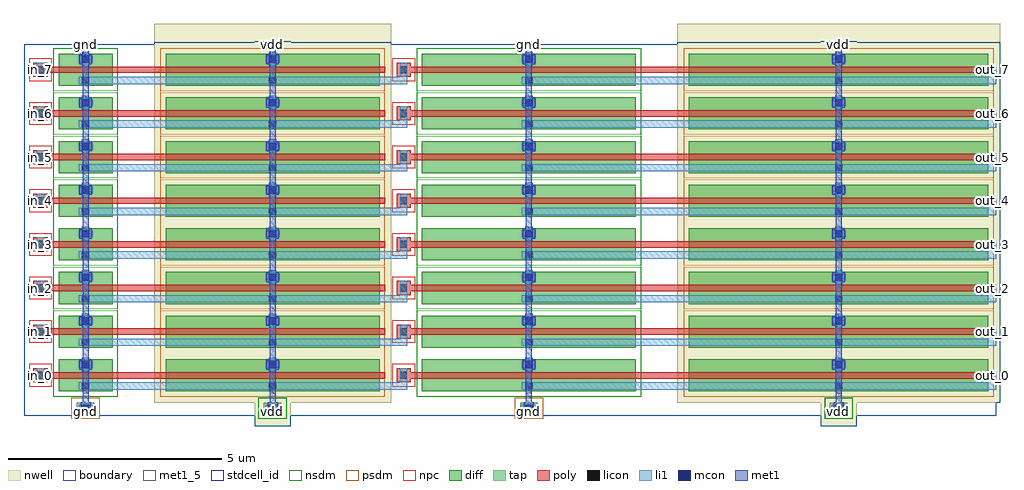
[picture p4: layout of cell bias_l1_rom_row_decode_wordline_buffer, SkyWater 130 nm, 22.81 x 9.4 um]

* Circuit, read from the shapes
.subckt bias_l1_rom_row_decode_wordline_buffer gnd in_0 in_1 in_2 in_3 in_4 in_5 in_6 in_7 out_0 out_1 out_2 out_3 out_4 out_5 out_6 out_7 vdd
XM1 gnd in_0 bias_l1_pbuf_dec_0/bias_l1_pinv_dec_1_1/A gnd sky130_fd_pr__nfet_01v8 w=1.26 l=0.15
XM2 gnd in_1 bias_l1_pbuf_dec_1/bias_l1_pinv_dec_1_1/A gnd sky130_fd_pr__nfet_01v8 w=1.26 l=0.15
XM3 gnd in_2 bias_l1_pbuf_dec_2/bias_l1_pinv_dec_1_1/A gnd sky130_fd_pr__nfet_01v8 w=1.26 l=0.15
XM4 gnd in_3 bias_l1_pbuf_dec_3/bias_l1_pinv_dec_1_1/A gnd sky130_fd_pr__nfet_01v8 w=1.26 l=0.15
XM5 gnd in_4 bias_l1_pbuf_dec_4/bias_l1_pinv_dec_1_1/A gnd sky130_fd_pr__nfet_01v8 w=1.26 l=0.15
XM6 gnd in_5 bias_l1_pbuf_dec_5/bias_l1_pinv_dec_1_1/A gnd sky130_fd_pr__nfet_01v8 w=1.26 l=0.15
XM7 gnd in_6 bias_l1_pbuf_dec_6/bias_l1_pinv_dec_1_1/A gnd sky130_fd_pr__nfet_01v8 w=1.26 l=0.15
XM8 gnd in_7 bias_l1_pbuf_dec_7/bias_l1_pinv_dec_1_1/A gnd sky130_fd_pr__nfet_01v8 w=1.26 l=0.15
XM9 gnd bias_l1_pbuf_dec_0/bias_l1_pinv_dec_1_1/A out_0 gnd sky130_fd_pr__nfet_01v8 w=5 l=0.15
XM10 gnd bias_l1_pbuf_dec_1/bias_l1_pinv_dec_1_1/A out_1 gnd sky130_fd_pr__nfet_01v8 w=5 l=0.15
XM11 gnd bias_l1_pbuf_dec_2/bias_l1_pinv_dec_1_1/A out_2 gnd sky130_fd_pr__nfet_01v8 w=5 l=0.15
XM12 gnd bias_l1_pbuf_dec_3/bias_l1_pinv_dec_1_1/A out_3 gnd sky130_fd_pr__nfet_01v8 w=5 l=0.15
XM13 gnd bias_l1_pbuf_dec_4/bias_l1_pinv_dec_1_1/A out_4 gnd sky130_fd_pr__nfet_01v8 w=5 l=0.15
XM14 gnd bias_l1_pbuf_dec_5/bias_l1_pinv_dec_1_1/A out_5 gnd sky130_fd_pr__nfet_01v8 w=5 l=0.15
XM15 gnd bias_l1_pbuf_dec_6/bias_l1_pinv_dec_1_1/A out_6 gnd sky130_fd_pr__nfet_01v8 w=5 l=0.15
XM16 gnd bias_l1_pbuf_dec_7/bias_l1_pinv_dec_1_1/A out_7 gnd sky130_fd_pr__nfet_01v8 w=5 l=0.15
XM17 vdd in_0 bias_l1_pbuf_dec_0/bias_l1_pinv_dec_1_1/A vdd sky130_fd_pr__pfet_01v8 w=5 l=0.15
XM18 vdd in_1 bias_l1_pbuf_dec_1/bias_l1_pinv_dec_1_1/A vdd sky130_fd_pr__pfet_01v8 w=5 l=0.15
XM19 vdd in_2 bias_l1_pbuf_dec_2/bias_l1_pinv_dec_1_1/A vdd sky130_fd_pr__pfet_01v8 w=5 l=0.15
XM20 vdd in_3 bias_l1_pbuf_dec_3/bias_l1_pinv_dec_1_1/A vdd sky130_fd_pr__pfet_01v8 w=5 l=0.15
XM21 vdd in_4 bias_l1_pbuf_dec_4/bias_l1_pinv_dec_1_1/A vdd sky130_fd_pr__pfet_01v8 w=5 l=0.15
XM22 vdd in_5 bias_l1_pbuf_dec_5/bias_l1_pinv_dec_1_1/A vdd sky130_fd_pr__pfet_01v8 w=5 l=0.15
XM23 vdd in_6 bias_l1_pbuf_dec_6/bias_l1_pinv_dec_1_1/A vdd sky130_fd_pr__pfet_01v8 w=5 l=0.15
XM24 vdd in_7 bias_l1_pbuf_dec_7/bias_l1_pinv_dec_1_1/A vdd sky130_fd_pr__pfet_01v8 w=5 l=0.15
XM25 vdd bias_l1_pbuf_dec_0/bias_l1_pinv_dec_1_1/A out_0 vdd sky130_fd_pr__pfet_01v8 w=7 l=0.15
XM26 vdd bias_l1_pbuf_dec_1/bias_l1_pinv_dec_1_1/A out_1 vdd sky130_fd_pr__pfet_01v8 w=7 l=0.15
XM27 vdd bias_l1_pbuf_dec_2/bias_l1_pinv_dec_1_1/A out_2 vdd sky130_fd_pr__pfet_01v8 w=7 l=0.15
XM28 vdd bias_l1_pbuf_dec_3/bias_l1_pinv_dec_1_1/A out_3 vdd sky130_fd_pr__pfet_01v8 w=7 l=0.15
XM29 vdd bias_l1_pbuf_dec_4/bias_l1_pinv_dec_1_1/A out_4 vdd sky130_fd_pr__pfet_01v8 w=7 l=0.15
XM30 vdd bias_l1_pbuf_dec_5/bias_l1_pinv_dec_1_1/A out_5 vdd sky130_fd_pr__pfet_01v8 w=7 l=0.15
XM31 vdd bias_l1_pbuf_dec_6/bias_l1_pinv_dec_1_1/A out_6 vdd sky130_fd_pr__pfet_01v8 w=7 l=0.15
XM32 vdd bias_l1_pbuf_dec_7/bias_l1_pinv_dec_1_1/A out_7 vdd sky130_fd_pr__pfet_01v8 w=7 l=0.15
.ends

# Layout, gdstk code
from math import pi, radians
import gdstk
lib = gdstk.Library(unit=1e-6, precision=1e-09)
def R(c, l, rs):  # rectangles x0, y0, x1, y1
    for r in rs: c.add(gdstk.rectangle(r[:2], r[2:], *l))
def A(c, l, x, y, w, h, nx, ny, dx, dy):  # array of equal rectangles
    R(c, l, [(x+i*dx, y+j*dy, x+i*dx+w, y+j*dy+h) for i in range(nx) for j in range(ny)])
nwell = (64, 20)
diff = (65, 20)
tap = (65, 44)
poly = (66, 20)
licon = (66, 44)
li1 = (67, 20)
mcon = (67, 44)
met1_5 = (68, 5)
met1 = (68, 20)
stdcell_id = (81, 4)
nsdm = (93, 44)
psdm = (94, 20)
npc = (95, 20)
boundary = (235, 4)

bias_l1_contact_10 = lib.new_cell('bias_l1_contact_10')
R(bias_l1_contact_10, nwell, [(-0.295,-0.255,0.545,0.585)])
R(bias_l1_contact_10, diff, [(0,0.02,0.25,0.31)])
R(bias_l1_contact_10, licon, [(0.04,0.08,0.21,0.25)])
R(bias_l1_contact_10, li1, [(0.04,0,0.21,0.33)])
R(bias_l1_contact_10, stdcell_id, [(-0.295,-0.255,0.545,0.585)])
R(bias_l1_contact_10, psdm, [(-0.125,-0.105,0.375,0.435)])
R(bias_l1_contact_10, boundary, [(-0.295,-0.255,0.545,0.585)])

bias_l1_pmos_m1_w5_000_s = lib.new_cell('bias_l1_pmos_m1_w5_000_sli_dli_da_p')
R(bias_l1_pmos_m1_w5_000_s, nwell, [(-0.27,-0.27,1.02,5.27)])
R(bias_l1_pmos_m1_w5_000_s, diff, [(0,0,0.75,5)])
R(bias_l1_pmos_m1_w5_000_s, poly, [(0.3,-0.13,0.45,5.13), (0.3,-0.13,0.45,5.13)])
R(bias_l1_pmos_m1_w5_000_s, li1, [(0.04,2.335,0.21,2.665), (0.54,2.335,0.71,2.665)])
R(bias_l1_pmos_m1_w5_000_s, stdcell_id, [(-0.27,-0.27,1.02,5.27)])
R(bias_l1_pmos_m1_w5_000_s, psdm, [(-0.125,-0.125,0.875,5.125)])
R(bias_l1_pmos_m1_w5_000_s, boundary, [(-0.27,-0.27,1.02,5.27)])
bias_l1_pmos_m1_w5_000_s.add(gdstk.Reference(bias_l1_contact_10, (0,2.335)))
bias_l1_pmos_m1_w5_000_s.add(gdstk.Reference(bias_l1_contact_10, (0.5,2.335)))
bias_l1_pmos_m1_w5_000_s.add(gdstk.Label('G', (0.375,2.5), layer=66, texttype=5))
bias_l1_pmos_m1_w5_000_s.add(gdstk.Label('S', (0.125,2.5), layer=67, texttype=5))
bias_l1_pmos_m1_w5_000_s.add(gdstk.Label('D', (0.625,2.5), layer=67, texttype=5))

bias_l1_contact_8 = lib.new_cell('bias_l1_contact_8')
R(bias_l1_contact_8, diff, [(0,0.02,0.25,0.31)])
R(bias_l1_contact_8, licon, [(0.04,0.08,0.21,0.25)])
R(bias_l1_contact_8, li1, [(0.04,0,0.21,0.33)])
R(bias_l1_contact_8, stdcell_id, [(-0.125,-0.105,0.375,0.435)])
R(bias_l1_contact_8, nsdm, [(-0.125,-0.105,0.375,0.435)])
R(bias_l1_contact_8, boundary, [(-0.125,-0.105,0.375,0.435)])

bias_l1_nmos_m1_w1_260_s = lib.new_cell('bias_l1_nmos_m1_w1_260_sli_dli_da_p')
R(bias_l1_nmos_m1_w1_260_s, diff, [(0,0,0.75,1.26)])
R(bias_l1_nmos_m1_w1_260_s, poly, [(0.3,-0.13,0.45,1.39), (0.3,-0.13,0.45,1.39)])
R(bias_l1_nmos_m1_w1_260_s, li1, [(0.04,0.465,0.21,0.795), (0.54,0.465,0.71,0.795)])
R(bias_l1_nmos_m1_w1_260_s, stdcell_id, [(-0.125,-0.13,0.875,1.39)])
R(bias_l1_nmos_m1_w1_260_s, nsdm, [(-0.125,-0.125,0.875,1.385)])
R(bias_l1_nmos_m1_w1_260_s, boundary, [(-0.125,-0.13,0.875,1.39)])
bias_l1_nmos_m1_w1_260_s.add(gdstk.Reference(bias_l1_contact_8, (0,0.465)))
bias_l1_nmos_m1_w1_260_s.add(gdstk.Reference(bias_l1_contact_8, (0.5,0.465)))
bias_l1_nmos_m1_w1_260_s.add(gdstk.Label('G', (0.375,0.63), layer=66, texttype=5))
bias_l1_nmos_m1_w1_260_s.add(gdstk.Label('S', (0.125,0.63), layer=67, texttype=5))
bias_l1_nmos_m1_w1_260_s.add(gdstk.Label('D', (0.625,0.63), layer=67, texttype=5))

bias_l1_contact_11 = lib.new_cell('bias_l1_contact_11')
R(bias_l1_contact_11, poly, [(0,0,0.33,0.33)])
R(bias_l1_contact_11, licon, [(0.08,0.08,0.25,0.25)])
R(bias_l1_contact_11, li1, [(0.08,0,0.25,0.33)])
R(bias_l1_contact_11, stdcell_id, [(-0.1,-0.1,0.43,0.43)])
R(bias_l1_contact_11, npc, [(-0.1,-0.1,0.43,0.43)])
R(bias_l1_contact_11, boundary, [(-0.1,-0.1,0.43,0.43)])

bias_l1_contact_12 = lib.new_cell('bias_l1_contact_12')
R(bias_l1_contact_12, li1, [(0.06,0,0.23,0.33)])
R(bias_l1_contact_12, mcon, [(0.06,0.08,0.23,0.25)])
R(bias_l1_contact_12, met1, [(0,0.05,0.29,0.28)])
R(bias_l1_contact_12, stdcell_id, [(0,0,0.29,0.33)])
R(bias_l1_contact_12, boundary, [(0,0,0.29,0.33)])

bias_l1_pinv_dec_0 = lib.new_cell('bias_l1_pinv_dec_0')
R(bias_l1_pinv_dec_0, nwell, [(3.04,0,8.58,1.495)])
R(bias_l1_pinv_dec_0, poly, [(0.385,0.345,0.68,0.495), (2.2,0.345,3.18,0.495)])
R(bias_l1_pinv_dec_0, li1, [(1.275,0.085,8.49,0.255), (0.3,0.255,0.47,0.585)])
R(bias_l1_pinv_dec_0, met1_5, [(1.37,0,1.51,1.02), (5.74,0,5.88,1.02)])
R(bias_l1_pinv_dec_0, met1, [(1.37,0,1.51,1.02), (5.74,0,5.88,1.02)])
R(bias_l1_pinv_dec_0, stdcell_id, [(0,0,8.49,1.02), (0,0,8.49,1.02)])
R(bias_l1_pinv_dec_0, nsdm, [(0.685,0,2.195,0.795)])
R(bias_l1_pinv_dec_0, psdm, [(3.185,0,8.435,0.795)])
R(bias_l1_pinv_dec_0, boundary, [(0,0,8.49,1.02), (0,0,8.49,1.02)])
bias_l1_pinv_dec_0.add(gdstk.Reference(bias_l1_pmos_m1_w5_000_s, (3.31,0.795), rotation=3*pi/2))
bias_l1_pinv_dec_0.add(gdstk.Reference(bias_l1_nmos_m1_w1_260_s, (0.81,0.795), rotation=3*pi/2))
bias_l1_pinv_dec_0.add(gdstk.Reference(bias_l1_contact_11, (0.22,0.255)))
bias_l1_pinv_dec_0.add(gdstk.Reference(bias_l1_contact_12, (1.295,0.505)))
bias_l1_pinv_dec_0.add(gdstk.Reference(bias_l1_contact_12, (5.665,0.505)))
bias_l1_pinv_dec_0.add(gdstk.Label('A', (0.385,0.42), layer=67, texttype=5))
bias_l1_pinv_dec_0.add(gdstk.Label('Z', (4.882,0.17), layer=67, texttype=5))
bias_l1_pinv_dec_0.add(gdstk.Label('gnd', (1.44,0.51), layer=68, texttype=5))
bias_l1_pinv_dec_0.add(gdstk.Label('vdd', (5.81,0.51), layer=68, texttype=5))

bias_l1_pmos_m1_w7_000_s = lib.new_cell('bias_l1_pmos_m1_w7_000_sli_dli_da_p')
R(bias_l1_pmos_m1_w7_000_s, nwell, [(-0.27,-0.27,1.02,7.27)])
R(bias_l1_pmos_m1_w7_000_s, diff, [(0,0,0.75,7)])
R(bias_l1_pmos_m1_w7_000_s, poly, [(0.3,-0.13,0.45,7.13), (0.3,-0.13,0.45,7.13)])
R(bias_l1_pmos_m1_w7_000_s, li1, [(0.04,3.335,0.21,3.665), (0.54,3.335,0.71,3.665)])
R(bias_l1_pmos_m1_w7_000_s, stdcell_id, [(-0.27,-0.27,1.02,7.27)])
R(bias_l1_pmos_m1_w7_000_s, psdm, [(-0.125,-0.125,0.875,7.125)])
R(bias_l1_pmos_m1_w7_000_s, boundary, [(-0.27,-0.27,1.02,7.27)])
bias_l1_pmos_m1_w7_000_s.add(gdstk.Reference(bias_l1_contact_10, (0,3.335)))
bias_l1_pmos_m1_w7_000_s.add(gdstk.Reference(bias_l1_contact_10, (0.5,3.335)))
bias_l1_pmos_m1_w7_000_s.add(gdstk.Label('G', (0.375,3.5), layer=66, texttype=5))
bias_l1_pmos_m1_w7_000_s.add(gdstk.Label('S', (0.125,3.5), layer=67, texttype=5))
bias_l1_pmos_m1_w7_000_s.add(gdstk.Label('D', (0.625,3.5), layer=67, texttype=5))

bias_l1_nmos_m1_w5_000_s = lib.new_cell('bias_l1_nmos_m1_w5_000_sli_dli_da_p')
R(bias_l1_nmos_m1_w5_000_s, diff, [(0,0,0.75,5)])
R(bias_l1_nmos_m1_w5_000_s, poly, [(0.3,-0.13,0.45,5.13), (0.3,-0.13,0.45,5.13)])
R(bias_l1_nmos_m1_w5_000_s, li1, [(0.04,2.335,0.21,2.665), (0.54,2.335,0.71,2.665)])
R(bias_l1_nmos_m1_w5_000_s, stdcell_id, [(-0.125,-0.13,0.875,5.13)])
R(bias_l1_nmos_m1_w5_000_s, nsdm, [(-0.125,-0.125,0.875,5.125)])
R(bias_l1_nmos_m1_w5_000_s, boundary, [(-0.125,-0.13,0.875,5.13)])
bias_l1_nmos_m1_w5_000_s.add(gdstk.Reference(bias_l1_contact_8, (0,2.335)))
bias_l1_nmos_m1_w5_000_s.add(gdstk.Reference(bias_l1_contact_8, (0.5,2.335)))
bias_l1_nmos_m1_w5_000_s.add(gdstk.Label('G', (0.375,2.5), layer=66, texttype=5))
bias_l1_nmos_m1_w5_000_s.add(gdstk.Label('S', (0.125,2.5), layer=67, texttype=5))
bias_l1_nmos_m1_w5_000_s.add(gdstk.Label('D', (0.625,2.5), layer=67, texttype=5))

bias_l1_pinv_dec_1 = lib.new_cell('bias_l1_pinv_dec_1')
R(bias_l1_pinv_dec_1, nwell, [(6.78,0,14.32,1.495)])
R(bias_l1_pinv_dec_1, poly, [(0.385,0.345,0.68,0.495), (5.94,0.345,6.92,0.495)])
R(bias_l1_pinv_dec_1, li1, [(3.145,0.085,14.23,0.255), (0.3,0.255,0.47,0.585)])
R(bias_l1_pinv_dec_1, met1_5, [(3.24,0,3.38,1.02), (10.48,0,10.62,1.02)])
R(bias_l1_pinv_dec_1, met1, [(3.24,0,3.38,1.02), (10.48,0,10.62,1.02)])
R(bias_l1_pinv_dec_1, stdcell_id, [(0,0,14.23,1.02), (0,0,14.23,1.02)])
R(bias_l1_pinv_dec_1, nsdm, [(0.685,0,5.935,0.795)])
R(bias_l1_pinv_dec_1, psdm, [(6.925,0,14.175,0.795)])
R(bias_l1_pinv_dec_1, boundary, [(0,0,14.23,1.02), (0,0,14.23,1.02)])
bias_l1_pinv_dec_1.add(gdstk.Reference(bias_l1_pmos_m1_w7_000_s, (7.05,0.795), rotation=3*pi/2))
bias_l1_pinv_dec_1.add(gdstk.Reference(bias_l1_nmos_m1_w5_000_s, (0.81,0.795), rotation=3*pi/2))
bias_l1_pinv_dec_1.add(gdstk.Reference(bias_l1_contact_11, (0.22,0.255)))
bias_l1_pinv_dec_1.add(gdstk.Reference(bias_l1_contact_12, (3.165,0.505)))
bias_l1_pinv_dec_1.add(gdstk.Reference(bias_l1_contact_12, (10.405,0.505)))
bias_l1_pinv_dec_1.add(gdstk.Label('A', (0.385,0.42), layer=67, texttype=5))
bias_l1_pinv_dec_1.add(gdstk.Label('Z', (8.688,0.17), layer=67, texttype=5))
bias_l1_pinv_dec_1.add(gdstk.Label('gnd', (3.31,0.51), layer=68, texttype=5))
bias_l1_pinv_dec_1.add(gdstk.Label('vdd', (10.55,0.51), layer=68, texttype=5))

bias_l1_pbuf_dec = lib.new_cell('bias_l1_pbuf_dec')
R(bias_l1_pbuf_dec, li1, [(8.49,0.085,8.875,0.255), (8.79,0.085,8.96,0.255), (11.635,0.085,22.72,0.255), (8.79,0.17,8.96,0.42), (0.3,0.255,0.47,0.585), (8.79,0.335,8.96,0.505), (8.79,0.335,8.875,0.505)])
R(bias_l1_pbuf_dec, met1_5, [(1.37,0,1.51,1.02), (5.74,0,5.88,1.02), (11.73,0,11.87,1.02), (18.97,0,19.11,1.02)])
R(bias_l1_pbuf_dec, met1, [(1.37,0,1.51,1.02), (5.74,0,5.88,1.02), (11.73,0,11.87,1.02), (18.97,0,19.11,1.02)])
R(bias_l1_pbuf_dec, stdcell_id, [(0,0,22.72,1.02), (0,0,22.72,1.02)])
R(bias_l1_pbuf_dec, boundary, [(0,0,22.72,1.02), (0,0,22.72,1.02)])
bias_l1_pbuf_dec.add(gdstk.Reference(bias_l1_pinv_dec_0, (0,0)))
bias_l1_pbuf_dec.add(gdstk.Reference(bias_l1_pinv_dec_1, (8.49,0)))
bias_l1_pbuf_dec.add(gdstk.Label('Z', (17.178,0.17), layer=67, texttype=5))
bias_l1_pbuf_dec.add(gdstk.Label('A', (0.385,0.42), layer=67, texttype=5))
bias_l1_pbuf_dec.add(gdstk.Label('vdd', (19.04,0.51), layer=68, texttype=5))
bias_l1_pbuf_dec.add(gdstk.Label('vdd', (5.81,0.51), layer=68, texttype=5))
bias_l1_pbuf_dec.add(gdstk.Label('gnd', (11.8,0.51), layer=68, texttype=5))
bias_l1_pbuf_dec.add(gdstk.Label('gnd', (1.44,0.51), layer=68, texttype=5))

bias_l1_contact_15 = lib.new_cell('bias_l1_contact_15')
R(bias_l1_contact_15, nwell, [(-0.215,-0.295,0.625,0.545)])
R(bias_l1_contact_15, tap, [(0,0,0.41,0.25)])
R(bias_l1_contact_15, licon, [(0.12,0.04,0.29,0.21)])
R(bias_l1_contact_15, li1, [(0.04,0.04,0.37,0.21)])
R(bias_l1_contact_15, stdcell_id, [(-0.215,-0.295,0.625,0.545)])
R(bias_l1_contact_15, nsdm, [(-0.125,-0.125,0.535,0.375)])
R(bias_l1_contact_15, boundary, [(-0.215,-0.295,0.625,0.545)])

bias_l1_contact_17 = lib.new_cell('bias_l1_contact_17')
R(bias_l1_contact_17, li1, [(0,0.06,0.33,0.23)])
R(bias_l1_contact_17, mcon, [(0.08,0.06,0.25,0.23)])
R(bias_l1_contact_17, met1, [(0.05,0,0.28,0.29)])
R(bias_l1_contact_17, stdcell_id, [(0,0,0.33,0.29)])
R(bias_l1_contact_17, boundary, [(0,0,0.33,0.29)])

bias_l1_contact_16 = lib.new_cell('bias_l1_contact_16')
R(bias_l1_contact_16, tap, [(0,0,0.41,0.25)])
R(bias_l1_contact_16, licon, [(0.12,0.04,0.29,0.21)])
R(bias_l1_contact_16, li1, [(0.04,0.04,0.37,0.21)])
R(bias_l1_contact_16, stdcell_id, [(-0.125,-0.125,0.535,0.375)])
R(bias_l1_contact_16, psdm, [(-0.125,-0.125,0.535,0.375)])
R(bias_l1_contact_16, boundary, [(-0.125,-0.125,0.535,0.375)])

bias_l1_rom_row_decode_w = lib.new_cell('bias_l1_rom_row_decode_wordline_buffer')
A(bias_l1_rom_row_decode_w, li1, 22.55, 0.69, 0.17, 0.335, 1, 8, 0, 1.02)
A(bias_l1_rom_row_decode_w, li1, 0.3, 0.775, 0.17, 0.33, 1, 8, 0, 1.02)
A(bias_l1_rom_row_decode_w, li1, 22.55, 0.855, 0.17, 0.17, 1, 8, 0, 1.02)
R(bias_l1_rom_row_decode_w, met1_5, [(1.37,0.03,1.51,0.17), (5.74,0.03,5.88,0.17), (11.73,0.03,11.87,0.17), (18.97,0.03,19.11,0.17), (1.37,8.61,1.51,8.75), (5.74,8.61,5.88,8.75), (11.73,8.61,11.87,8.75), (18.97,8.61,19.11,8.75)])
A(bias_l1_rom_row_decode_w, met1, 1.37, 0.96, 0.14, 0.14, 1, 8, 0, 1.02)
A(bias_l1_rom_row_decode_w, met1, 5.74, 0.96, 0.14, 0.14, 1, 8, 0, 1.02)
A(bias_l1_rom_row_decode_w, met1, 11.73, 0.96, 0.14, 0.14, 1, 8, 0, 1.02)
A(bias_l1_rom_row_decode_w, met1, 18.97, 0.96, 0.14, 0.14, 1, 8, 0, 1.02)
R(bias_l1_rom_row_decode_w, met1, [(1.37,0.03,1.51,0.17), (1.37,0.03,1.51,8.75), (5.74,0.03,5.88,0.17), (5.74,0.03,5.88,8.75), (11.73,0.03,11.87,0.17), (11.73,0.03,11.87,8.75), (18.97,0.03,19.11,0.17), (18.97,0.03,19.11,8.75), (1.37,0.1,1.51,0.24), (5.74,0.1,5.88,0.24), (11.73,0.1,11.87,0.24), (18.97,0.1,19.11,0.24), (1.37,8.61,1.51,8.75), (5.74,8.61,5.88,8.75), (11.73,8.61,11.87,8.75), (18.97,8.61,19.11,8.75)])
R(bias_l1_rom_row_decode_w, stdcell_id, [(0,0,22.72,8.16)])
R(bias_l1_rom_row_decode_w, boundary, [(0,0,22.72,8.16)])
bias_l1_rom_row_decode_w.add(gdstk.Reference(bias_l1_pbuf_dec, (0,0.52)))
bias_l1_rom_row_decode_w.add(gdstk.Reference(bias_l1_pbuf_dec, (0,1.54)))
bias_l1_rom_row_decode_w.add(gdstk.Reference(bias_l1_pbuf_dec, (0,2.56)))
bias_l1_rom_row_decode_w.add(gdstk.Reference(bias_l1_pbuf_dec, (0,3.58)))
bias_l1_rom_row_decode_w.add(gdstk.Reference(bias_l1_pbuf_dec, (0,4.6)))
bias_l1_rom_row_decode_w.add(gdstk.Reference(bias_l1_pbuf_dec, (0,5.62)))
bias_l1_rom_row_decode_w.add(gdstk.Reference(bias_l1_pbuf_dec, (0,6.64)))
bias_l1_rom_row_decode_w.add(gdstk.Reference(bias_l1_pbuf_dec, (0,7.66)))
bias_l1_rom_row_decode_w.add(gdstk.Reference(bias_l1_contact_15, (18.835,0.045)))
bias_l1_rom_row_decode_w.add(gdstk.Reference(bias_l1_contact_17, (18.875,0.025)))
bias_l1_rom_row_decode_w.add(gdstk.Reference(bias_l1_contact_16, (11.595,0.045)))
bias_l1_rom_row_decode_w.add(gdstk.Reference(bias_l1_contact_17, (11.635,0.025)))
bias_l1_rom_row_decode_w.add(gdstk.Reference(bias_l1_contact_15, (5.605,0.045)))
bias_l1_rom_row_decode_w.add(gdstk.Reference(bias_l1_contact_17, (5.645,0.025)))
bias_l1_rom_row_decode_w.add(gdstk.Reference(bias_l1_contact_16, (1.235,0.045)))
bias_l1_rom_row_decode_w.add(gdstk.Reference(bias_l1_contact_17, (1.275,0.025)))
bias_l1_rom_row_decode_w.add(gdstk.Label('in_0', (0.385,0.94), layer=67, texttype=5))
bias_l1_rom_row_decode_w.add(gdstk.Label('out_0', (22.635,0.94), layer=67, texttype=5))
bias_l1_rom_row_decode_w.add(gdstk.Label('in_1', (0.385,1.96), layer=67, texttype=5))
bias_l1_rom_row_decode_w.add(gdstk.Label('out_1', (22.635,1.96), layer=67, texttype=5))
bias_l1_rom_row_decode_w.add(gdstk.Label('in_2', (0.385,2.98), layer=67, texttype=5))
bias_l1_rom_row_decode_w.add(gdstk.Label('out_2', (22.635,2.98), layer=67, texttype=5))
bias_l1_rom_row_decode_w.add(gdstk.Label('in_3', (0.385,4), layer=67, texttype=5))
bias_l1_rom_row_decode_w.add(gdstk.Label('out_3', (22.635,4), layer=67, texttype=5))
bias_l1_rom_row_decode_w.add(gdstk.Label('in_4', (0.385,5.02), layer=67, texttype=5))
bias_l1_rom_row_decode_w.add(gdstk.Label('out_4', (22.635,5.02), layer=67, texttype=5))
bias_l1_rom_row_decode_w.add(gdstk.Label('in_5', (0.385,6.04), layer=67, texttype=5))
bias_l1_rom_row_decode_w.add(gdstk.Label('out_5', (22.635,6.04), layer=67, texttype=5))
bias_l1_rom_row_decode_w.add(gdstk.Label('in_6', (0.385,7.06), layer=67, texttype=5))
bias_l1_rom_row_decode_w.add(gdstk.Label('out_6', (22.635,7.06), layer=67, texttype=5))
bias_l1_rom_row_decode_w.add(gdstk.Label('in_7', (0.385,8.08), layer=67, texttype=5))
bias_l1_rom_row_decode_w.add(gdstk.Label('out_7', (22.635,8.08), layer=67, texttype=5))
bias_l1_rom_row_decode_w.add(gdstk.Label('gnd', (11.8,8.68), layer=68, texttype=5))
bias_l1_rom_row_decode_w.add(gdstk.Label('gnd', (1.44,8.68), layer=68, texttype=5))
bias_l1_rom_row_decode_w.add(gdstk.Label('gnd', (1.44,0.1), layer=68, texttype=5))
bias_l1_rom_row_decode_w.add(gdstk.Label('gnd', (11.8,0.1), layer=68, texttype=5))
bias_l1_rom_row_decode_w.add(gdstk.Label('vdd', (5.81,0.1), layer=68, texttype=5))
bias_l1_rom_row_decode_w.add(gdstk.Label('vdd', (19.04,0.1), layer=68, texttype=5))
bias_l1_rom_row_decode_w.add(gdstk.Label('vdd', (5.81,8.68), layer=68, texttype=5))
bias_l1_rom_row_decode_w.add(gdstk.Label('vdd', (19.04,8.68), layer=68, texttype=5))

lib.write_gds('bias_l1_rom_row_decode_wordline_buffer.gds')
